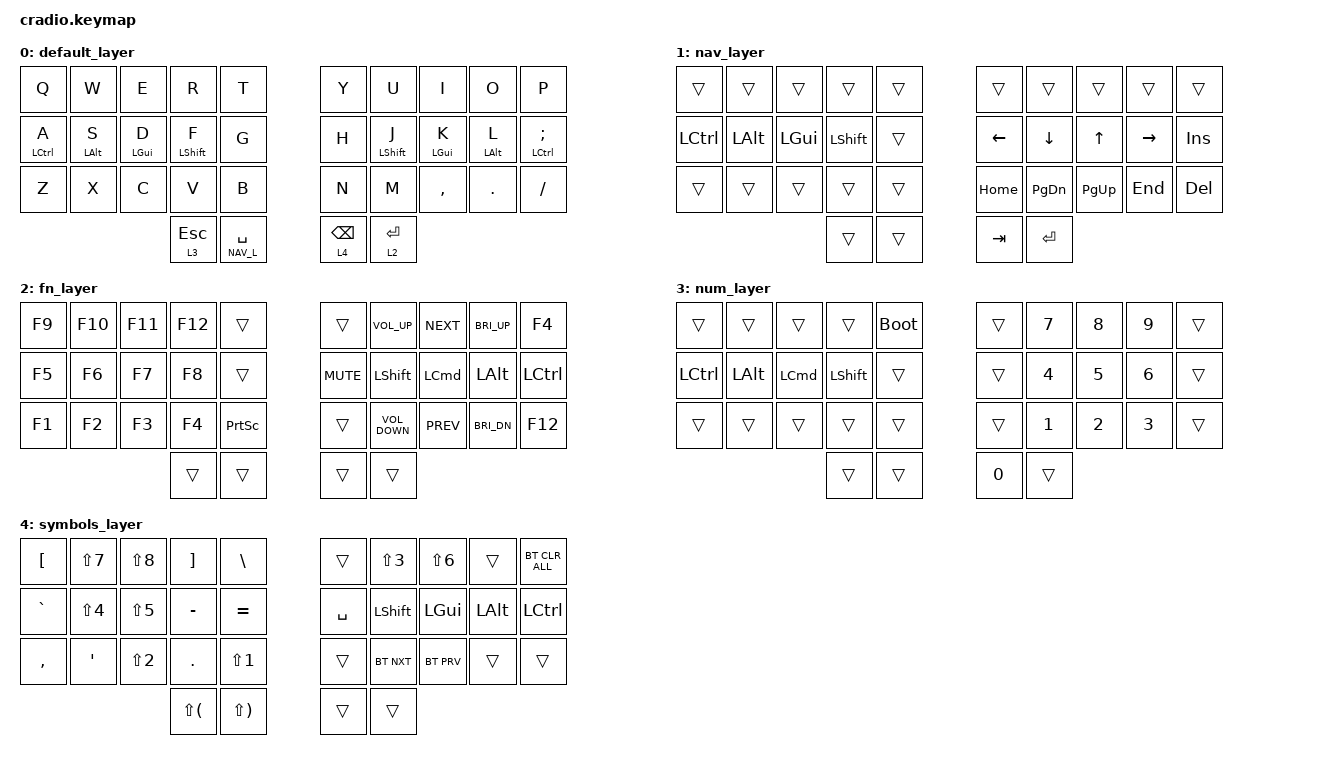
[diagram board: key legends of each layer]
// Copyright (c) 2022 The ZMK Contributors
// SPDX-License-Identifier: MIT

#include <behaviors.dtsi>
#include <dt-bindings/zmk/bt.h>
#include <dt-bindings/zmk/keys.h>

// Home row mods macro

#define NAV_L 1
#define FN_L 2
#define NUM_L 3
#define SYM_L 4

/ {
    behaviors {
        hm: homerow_mods {
            compatible = "zmk,behavior-hold-tap";
            #binding-cells = <2>;
            tapping-term-ms = <220>;
            flavor = "tap-preferred";
            bindings = <&kp>, <&kp>;
        };
    };

    combos {
        compatible = "zmk,combos";

        ye {
            bindings = <&kp SQT>;
            key-positions = <1 2>;
            timeout-ms = <40>;
            layers = <0>;
        };

        yo {
            bindings = <&kp GRAVE>;
            key-positions = <0 1>;
            layers = <0>;
            timeout-ms = <40>;
        };

        h {
            bindings = <&kp LEFT_BRACKET>;
            key-positions = <7 8>;
            timeout-ms = <40>;
            layers = <0>;
        };

        b {
            bindings = <&kp RIGHT_BRACKET>;
            key-positions = <8 9>;
            timeout-ms = <40>;
            layers = <0>;
        };
    };

    keymap {
        compatible = "zmk,keymap";

        default_layer {
            bindings = <
&kp Q        &kp W       &kp E       &kp R        &kp T              &kp Y       &kp U        &kp I       &kp O       &kp P
&hm LCTRL A  &hm LALT S  &hm LGUI D  &hm LSHFT F  &kp G              &kp H       &hm LSHFT J  &hm LGUI K  &hm LALT L  &hm LCTRL SEMI
&kp Z        &kp X       &kp C       &kp V        &kp B              &kp N       &kp M        &kp COMMA   &kp DOT     &kp FSLH
                                     &lt 3 ESC    &lt NAV_L SPACE    &lt 4 BSPC  &lt 2 ENTER
            >;
        };

        nav_layer {
            bindings = <
&trans     &trans    &trans    &trans      &trans    &trans    &trans     &trans     &trans     &trans
&kp LCTRL  &kp LALT  &kp LGUI  &kp LSHIFT  &trans    &kp LEFT  &kp DOWN   &kp UP     &kp RIGHT  &kp INS
&trans     &trans    &trans    &trans      &trans    &kp HOME  &kp PG_DN  &kp PG_UP  &kp END    &kp DEL
                               &trans      &trans    &kp TAB   &kp ENTER
            >;
        };

        fn_layer {
            bindings = <
&kp F9  &kp F10  &kp F11  &kp F12  &trans             &trans      &kp C_VOLUME_UP    &kp K_NEXT        &kp C_BRI_UP  &kp F4
&kp F5  &kp F6   &kp F7   &kp F8   &trans             &kp K_MUTE  &kp LEFT_SHIFT     &kp LEFT_COMMAND  &kp LEFT_ALT  &kp LEFT_CONTROL
&kp F1  &kp F2   &kp F3   &kp F4   &kp PRINTSCREEN    &trans      &kp C_VOLUME_DOWN  &kp K_PREV        &kp C_BRI_DN  &kp F12
                          &trans   &trans             &trans      &trans
            >;
        };

        num_layer {
            bindings = <
&trans            &trans        &trans            &trans          &bootloader    &trans  &kp N7  &kp N8  &kp N9  &trans
&kp LEFT_CONTROL  &kp LEFT_ALT  &kp LEFT_COMMAND  &kp LEFT_SHIFT  &trans         &trans  &kp N4  &kp N5  &kp N6  &trans
&trans            &trans        &trans            &trans          &trans         &trans  &kp N1  &kp N2  &kp N3  &trans
                                                  &trans          &trans         &kp N0  &trans
            >;
        };

        symbols_layer {
            bindings = <
&kp LEFT_BRACKET  &kp LS(N7)  &kp LS(N8)  &kp RIGHT_BRACKET         &kp BACKSLASH                &trans     &kp LS(N3)  &kp LS(N6)  &trans    &bt BT_CLR_ALL
&kp GRAVE         &kp LS(N4)  &kp LS(N5)  &kp MINUS                 &kp EQUAL                    &kp SPACE  &kp LSHIFT  &kp LGUI    &kp LALT  &kp LEFT_CONTROL
&kp COMMA         &kp SQT     &kp LS(N2)  &kp PERIOD                &kp LS(N1)                   &trans     &bt BT_NXT  &bt BT_PRV  &trans    &trans
                                          &kp LS(LEFT_PARENTHESIS)  &kp LS(RIGHT_PARENTHESIS)    &trans     &trans
            >;
        };
    };
};
